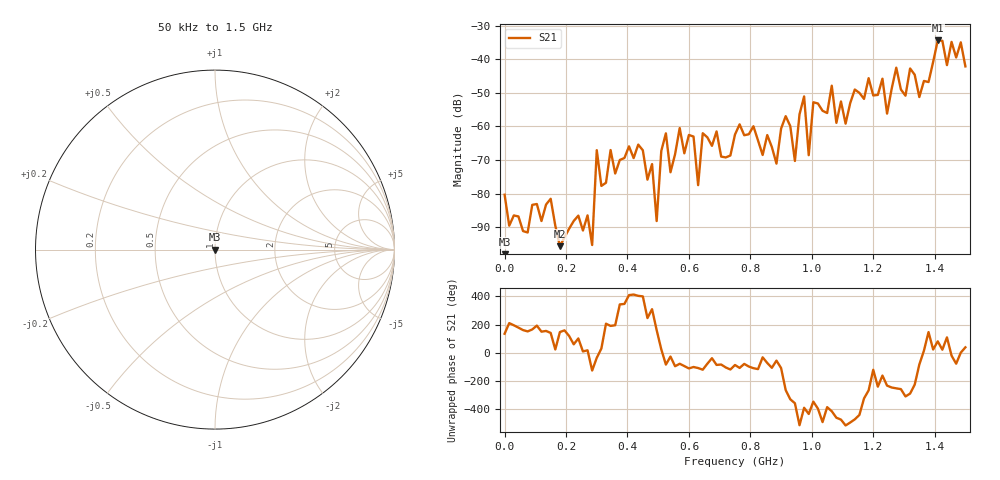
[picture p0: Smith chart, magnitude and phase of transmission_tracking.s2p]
! Created with skrf 1.8.0 (http://scikit-rf.org).
# Hz S RI R 50.0
!freq ReS11 ImS11 ReS21 ImS21 ReS12 ImS12 ReS22 ImS22
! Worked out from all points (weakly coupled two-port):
!   101 points, 50 kHz to 1.5 GHz, reference 50 ohm
!   highest |S21| = -34.39 dB at 1.41 GHz (marker M1); lowest = -95.7 dB at 180 MHz (marker M2)
!   lowest |S11| = - dB at 50 kHz (marker M3), VSWR 1.00, Z = 50 + j0 ohm
!   |S11| at or under -10 dB: start of sweep to end of sweep
!   S12 and S22 are empty: the file has one direction only
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50000  0 0  -6.72e-05 6.88e-05  0 0  0 0
1.80044e8  0 0  -1.37e-05 9.13e-06  0 0  0 0
2.550415e8  0 0  2.79e-05 4e-06  0 0  0 0
3.0004e8  0 0  0.000354 -0.000267  0 0  0 0
3.150395e8  0 0  0.000114 6.29e-05  0 0  0 0
4.350355e8  0 0  0.000384 0.000375  0 0  0 0
4.950335e8  0 0  -3.67e-05 1.34e-05  0 0  0 0
5.10033e8  0 0  0.000395 0.000172  0 0  0 0
6.150295e8  0 0  -0.000152 -0.000691  0 0  0 0
6.30029e8  0 0  -4.53e-05 -0.000126  0 0  0 0
6.450285e8  0 0  -0.000416 -0.000674  0 0  0 0
7.50025e8  0 0  2.31e-05 -0.000757  0 0  0 0
8.850205e8  0 0  0.000152 -0.000235  0 0  0 0
9.150195e8  0 0  -8.16e-05 0.00142  0 0  0 0
9.450185e8  0 0  0.000306 -2.08e-06  0 0  0 0
9.750175e8  0 0  0.00236 -0.00151  0 0  0 0
9.90017e8  0 0  8.5e-05 -0.000364  0 0  0 0
1.005016e9  0 0  0.00225 0.000437  0 0  0 0
1.260008e9  0 0  -0.00134 0.00338  0 0  0 0
1.350005e9  0 0  0.000229 -0.00273  0 0  0 0
1.410003e9  0 0  0.00322 0.0188  0 0  0 0
1.5e9  0 0  0.00622 0.00478  0 0  0 0
